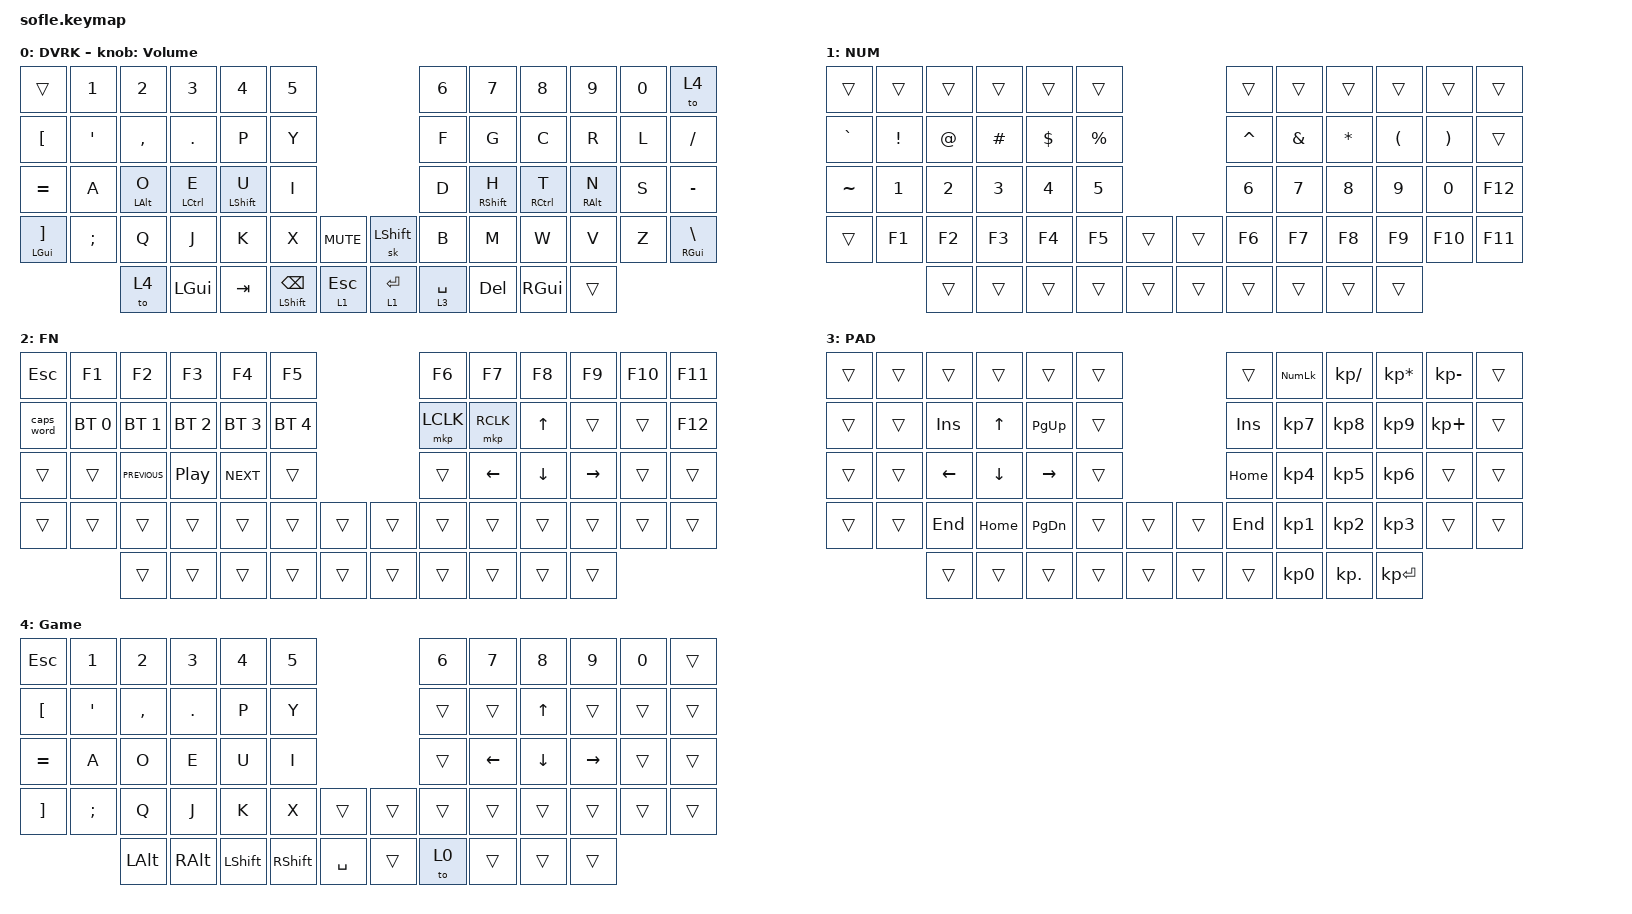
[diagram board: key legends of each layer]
#include <dt-bindings/zmk/mouse.h>
#include <behaviors.dtsi>
#include <dt-bindings/zmk/bt.h>
#include <dt-bindings/zmk/keys.h>
#include <dt-bindings/zmk/pointing.h>

/ {
    behaviors {
        Volume: Volume {
            compatible = "zmk,behavior-sensor-rotate";
            label = "VOLUME";
            #sensor-binding-cells = <0>;
            bindings = <&kp LS(C_VOLUME_DOWN)>, <&kp C_VOLUME_UP>;
        };

        homerow_mod: homerow_mod {
            compatible = "zmk,behavior-hold-tap";
            label = "HOMEROW_MOD";
            bindings = <&kp>, <&kp>;

            #binding-cells = <2>;
            tapping-term-ms = <200>;
            flavor = "balanced";
            require-prior-idle-ms = <125>;
        };

        shift_tap: shift_tap {
            compatible = "zmk,behavior-hold-tap";
            label = "SHIFT_TAP";
            bindings = <&kp>, <&kp>;

            #binding-cells = <2>;
            tapping-term-ms = <200>;
            quick-tap-ms = <150>;
        };

        home_shift: home_shift {
            compatible = "zmk,behavior-hold-tap";
            label = "HOME_SHIFT";
            bindings = <&kp>, <&kp>;

            #binding-cells = <2>;
            tapping-term-ms = <200>;
            flavor = "tap-preferred";
        };
    };

    combos { compatible = "zmk,combos"; };

    keymap {
        compatible = "zmk,keymap";

        DVORAK {
            display-name = "DVRK";
            bindings = <
&trans                               &kp N1         &kp N2               &kp N3                &kp N4                &kp N5                                                           &kp N6       &kp N7               &kp N8                &kp N9                    &kp N0  &to 4
&kp LEFT_BRACKET                     &kp SQT        &kp COMMA            &kp PERIOD            &kp P                 &kp Y                                                            &kp F        &kp G                &kp C                 &kp R                     &kp L   &kp SLASH
&kp EQUAL                            &kp A          &homerow_mod LALT O  &homerow_mod LCTRL E  &home_shift LSHIFT U  &kp I                                                            &kp D        &home_shift RSHFT H  &homerow_mod RCTRL T  &homerow_mod RIGHT_ALT N  &kp S   &kp MINUS
&homerow_mod LEFT_GUI RIGHT_BRACKET  &kp SEMICOLON  &kp Q                &kp J                 &kp K                 &kp X                            &kp C_MUTE      &sk LEFT_SHIFT  &kp B        &kp M                &kp W                 &kp V                     &kp Z   &homerow_mod RIGHT_GUI BACKSLASH
                                                    &to 4                &kp LEFT_GUI          &kp TAB               &shift_tap LEFT_SHIFT BACKSPACE  &lt 1 ESCAPE    &lt 1 ENTER     &lt 3 SPACE  &kp DELETE           &kp RIGHT_GUI         &trans
            >;

            sensor-bindings = <&Volume>;
            label = "DV";
        };

        Numbers {
            bindings = <
&trans     &trans           &trans       &trans    &trans      &trans                         &trans     &trans         &trans        &trans                &trans                 &trans
&kp GRAVE  &kp EXCLAMATION  &kp AT_SIGN  &kp HASH  &kp DOLLAR  &kp PERCENT                    &kp CARET  &kp AMPERSAND  &kp ASTERISK  &kp LEFT_PARENTHESIS  &kp RIGHT_PARENTHESIS  &trans
&kp TILDE  &kp N1           &kp N2       &kp N3    &kp N4      &kp N5                         &kp N6     &kp N7         &kp N8        &kp N9                &kp N0                 &kp F12
&trans     &kp F1           &kp F2       &kp F3    &kp F4      &kp F5       &trans    &trans  &kp F6     &kp F7         &kp F8        &kp F9                &kp F10                &kp F11
                            &trans       &trans    &trans      &trans       &trans    &trans  &trans     &trans         &trans        &trans
            >;

            label = "NUM";
        };

        Function {
            bindings = <
&kp ESCAPE  &kp F1        &kp F2          &kp F3            &kp F4        &kp F5                          &kp F6     &kp F7     &kp F8        &kp F9     &kp F10  &kp F11
&caps_word  &bt BT_SEL 0  &bt BT_SEL 1    &bt BT_SEL 2      &bt BT_SEL 3  &bt BT_SEL 4                    &mkp LCLK  &mkp RCLK  &kp UP_ARROW  &trans     &trans   &kp F12
&trans      &trans        &kp C_PREVIOUS  &kp C_PLAY_PAUSE  &kp C_NEXT    &trans                          &trans     &kp LEFT   &kp DOWN      &kp RIGHT  &trans   &trans
&trans      &trans        &trans          &trans            &trans        &trans        &trans    &trans  &trans     &trans     &trans        &trans     &trans   &trans
                          &trans          &trans            &trans        &trans        &trans    &trans  &trans     &trans     &trans        &trans
            >;

            label = "FN";
        };

        Keypad {
            bindings = <
&trans  &trans  &trans    &trans    &trans     &trans                    &trans    &kp KP_NUMLOCK   &kp KP_SLASH  &kp KP_MULTIPLY  &kp KP_SUBTRACT  &trans
&trans  &trans  &kp INS   &kp UP    &kp PG_UP  &trans                    &kp INS   &kp KP_N7        &kp KP_N8     &kp KP_N9        &kp KP_PLUS      &trans
&trans  &trans  &kp LEFT  &kp DOWN  &kp RIGHT  &trans                    &kp HOME  &kp KP_N4        &kp KP_N5     &kp KP_N6        &trans           &trans
&trans  &trans  &kp END   &kp HOME  &kp PG_DN  &trans  &trans    &trans  &kp END   &kp KP_NUMBER_1  &kp KP_N2     &kp KP_N3        &trans           &trans
                &trans    &trans    &trans     &trans  &trans    &trans  &trans    &kp KP_N0        &kp KP_DOT    &kp KP_ENTER
            >;

            label = "PAD";
        };

        Gaming {
            bindings = <
&kp ESC    &kp N1    &kp N2     &kp N3    &kp N4     &kp N5                          &kp N6  &kp N7    &kp N8    &kp N9     &kp N0  &trans
&kp LBKT   &kp SQT   &kp COMMA  &kp DOT   &kp P      &kp Y                           &trans  &trans    &kp UP    &trans     &trans  &trans
&kp EQUAL  &kp A     &kp O      &kp E     &kp U      &kp I                           &trans  &kp LEFT  &kp DOWN  &kp RIGHT  &trans  &trans
&kp RBKT   &kp SEMI  &kp Q      &kp J     &kp K      &kp X      &trans       &trans  &trans  &trans    &trans    &trans     &trans  &trans
                     &kp LALT   &kp RALT  &kp LSHFT  &kp RSHFT  &kp SPACE    &trans  &to 0   &trans    &trans    &trans
            >;

            label = "Game";
        };
    };
};
